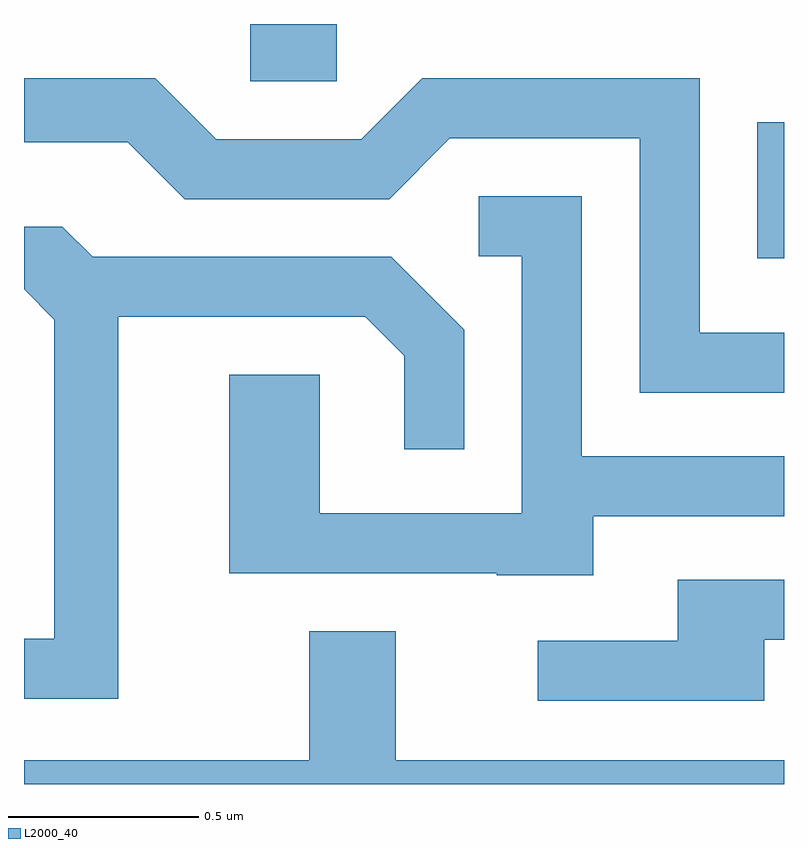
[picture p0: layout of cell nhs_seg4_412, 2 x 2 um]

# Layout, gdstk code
import gdstk
lib = gdstk.Library(unit=1e-6, precision=1e-09)
def R(c, l, rs):  # rectangles x0, y0, x1, y1
    for r in rs: c.add(gdstk.rectangle(r[:2], r[2:], *l))
def P(c, l, *ps):  # polygons
    for p in ps: c.add(gdstk.Polygon(p, *l))
L2000_40 = (2000, 40)

nhs_seg4_412 = lib.new_cell('nhs_seg4_412')
R(nhs_seg4_412, L2000_40, [(190.541,1256.366,190.611,1256.723), (189.206,1256.831,189.434,1256.982)])
P(nhs_seg4_412, L2000_40, [(190.611,1256.169),(190.389,1256.169),(190.389,1256.839),(189.659,1256.839),(189.499,1256.679),(189.117,1256.679),(188.957,1256.839),(188.611,1256.839),(188.611,1256.671),(188.884,1256.671),(189.034,1256.521),(189.572,1256.521),(189.732,1256.681),(190.231,1256.681),(190.231,1256.011),(190.611,1256.011)],
  [(190.109,1255.686),(190.611,1255.686),(190.611,1255.844),(190.079,1255.844),(190.079,1256.529),(189.808,1256.529),(189.808,1256.371),(189.921,1256.371),(189.921,1255.694),(189.389,1255.694),(189.389,1256.059),(189.151,1256.059),(189.151,1255.536),(189.855,1255.536),(189.855,1255.531),(190.109,1255.531)],
  [(188.859,1256.211),(189.509,1256.211),(189.611,1256.109),(189.611,1255.863),(189.769,1255.863),(189.769,1256.177),(189.577,1256.369),(188.792,1256.369),(188.712,1256.449),(188.611,1256.449),(188.611,1256.284),(188.691,1256.204),(188.691,1255.364),(188.611,1255.364),(188.611,1255.206),(188.859,1255.206)],
  [(190.559,1255.361),(190.611,1255.361),(190.611,1255.519),(190.331,1255.519),(190.331,1255.359),(189.963,1255.359),(189.963,1255.201),(190.559,1255.201)],
  [(190.611,1255.044),(189.589,1255.044),(189.589,1255.384),(189.361,1255.384),(189.361,1255.044),(188.611,1255.044),(188.611,1254.982),(190.611,1254.982)])

lib.write_gds('nhs_seg4_412.gds')
